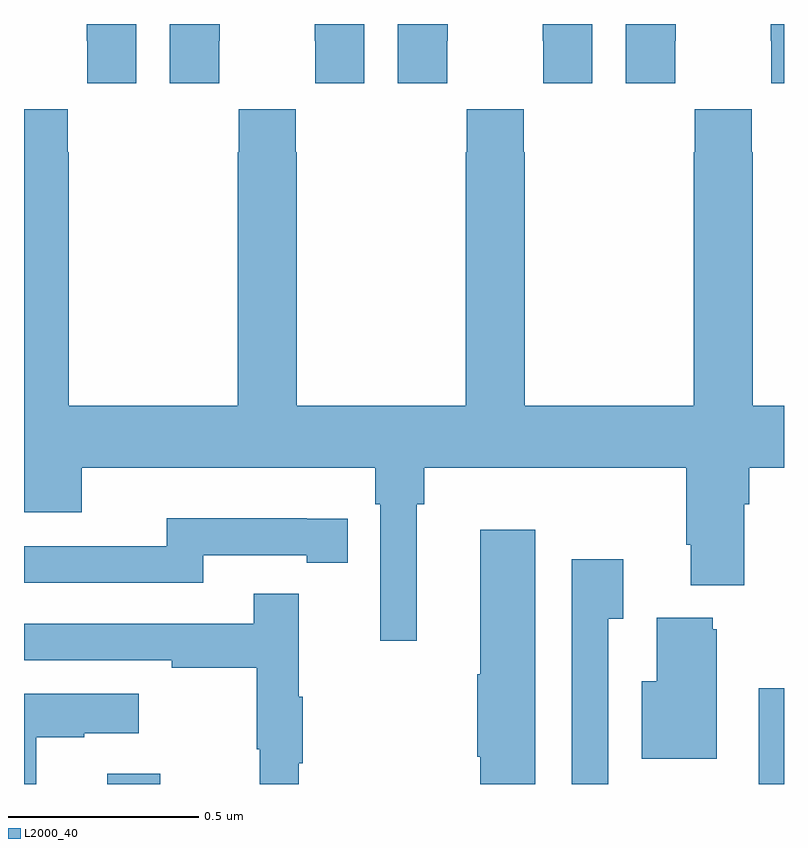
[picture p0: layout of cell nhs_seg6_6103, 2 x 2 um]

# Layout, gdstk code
import gdstk
lib = gdstk.Library(unit=1e-6, precision=1e-09)
def R(c, l, rs):  # rectangles x0, y0, x1, y1
    for r in rs: c.add(gdstk.rectangle(r[:2], r[2:], *l))
def P(c, l, *ps):  # polygons
    for p in ps: c.add(gdstk.Polygon(p, *l))
L2000_40 = (2000, 40)

nhs_seg6_6103 = lib.new_cell('nhs_seg6_6103')
R(nhs_seg6_6103, L2000_40, [(191.219,950.5,191.359,950.527), (192.933,950.5,193,950.752)])
P(nhs_seg6_6103, L2000_40, [(191.514,952.456),(191.515,952.456),(191.515,952.5),(191.384,952.5),(191.384,952.344),(191.514,952.344)],
  [(191.896,952.5),(191.765,952.5),(191.765,952.456),(191.766,952.456),(191.766,952.344),(191.896,952.344)],
  [(192.114,952.456),(192.115,952.456),(192.115,952.5),(191.984,952.5),(191.984,952.344),(192.114,952.344)],
  [(192.496,952.5),(192.365,952.5),(192.365,952.456),(192.366,952.456),(192.366,952.344),(192.496,952.344)],
  [(192.714,952.456),(192.715,952.456),(192.715,952.5),(192.584,952.5),(192.584,952.344),(192.714,952.344)],
  [(193,952.5),(192.965,952.5),(192.965,952.456),(192.966,952.456),(192.966,952.344),(193,952.344)],
  [(191.296,952.5),(191.165,952.5),(191.165,952.456),(191.166,952.456),(191.166,952.344),(191.296,952.344)],
  [(192.034,951.236),(192.053,951.236),(192.053,951.332),(192.743,951.332),(192.743,951.13),(192.755,951.13),(192.755,951.023),(192.895,951.023),(192.895,951.236),(192.908,951.236),(192.908,951.332),(193,951.332),(193,951.496),(192.918,951.496),(192.918,952.163),(192.915,952.163),(192.915,952.276),(192.765,952.276),(192.765,952.163),(192.763,952.163),(192.763,951.496),(192.318,951.496),(192.318,952.163),(192.315,952.163),(192.315,952.276),(192.165,952.276),(192.165,952.163),(192.163,952.163),(192.163,951.496),(191.718,951.496),(191.718,952.163),(191.715,952.163),(191.715,952.276),(191.565,952.276),(191.565,952.163),(191.563,952.163),(191.563,951.496),(191.118,951.496),(191.118,952.163),(191.115,952.163),(191.115,952.276),(191,952.276),(191,951.215),(191.152,951.215),(191.152,951.332),(191.924,951.332),(191.924,951.236),(191.937,951.236),(191.937,950.877),(192.034,950.877)],
  [(191.472,951.102),(191.744,951.102),(191.744,951.082),(191.852,951.082),(191.852,951.198),(191.744,951.198),(191.744,951.199),(191.376,951.199),(191.376,951.126),(191,951.126),(191,951.03),(191.472,951.03)],
  [(192.346,951.169),(192.2,951.169),(192.2,950.789),(192.193,950.789),(192.193,950.572),(192.2,950.572),(192.2,950.5),(192.346,950.5)],
  [(192.537,950.935),(192.577,950.935),(192.577,951.091),(192.441,951.091),(192.441,950.5),(192.537,950.5)],
  [(191.723,950.555),(191.734,950.555),(191.734,950.729),(191.723,950.729),(191.723,951.001),(191.605,951.001),(191.605,950.922),(191,950.922),(191,950.826),(191.389,950.826),(191.389,950.806),(191.613,950.806),(191.613,950.592),(191.62,950.592),(191.62,950.5),(191.723,950.5)],
  [(192.823,950.907),(192.812,950.907),(192.812,950.938),(192.665,950.938),(192.665,950.77),(192.626,950.77),(192.626,950.567),(192.823,950.567)],
  [(191.032,950.623),(191.159,950.623),(191.159,950.633),(191.302,950.633),(191.302,950.737),(191,950.737),(191,950.5),(191.032,950.5)])

lib.write_gds('nhs_seg6_6103.gds')
